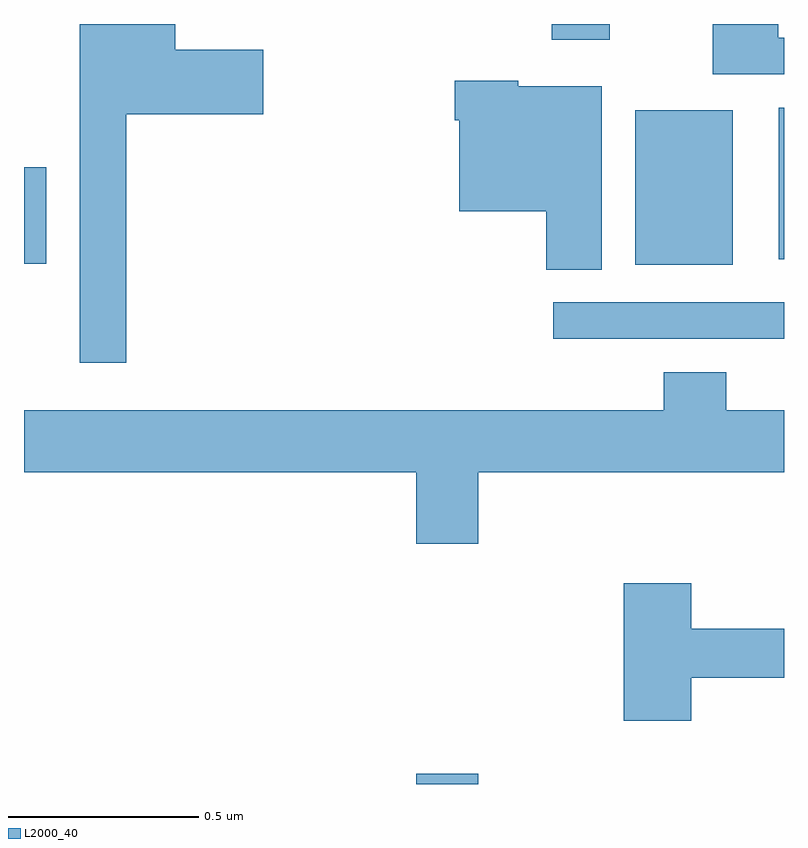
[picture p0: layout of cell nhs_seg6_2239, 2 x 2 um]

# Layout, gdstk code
import gdstk
lib = gdstk.Library(unit=1e-6, precision=1e-09)
def R(c, l, rs):  # rectangles x0, y0, x1, y1
    for r in rs: c.add(gdstk.rectangle(r[:2], r[2:], *l))
def P(c, l, *ps):  # polygons
    for p in ps: c.add(gdstk.Polygon(p, *l))
L2000_40 = (2000, 40)

nhs_seg6_2239 = lib.new_cell('nhs_seg6_2239')
R(nhs_seg6_2239, L2000_40, [(141.032,962.5,141.196,962.527), (141.393,963.672,142,963.768), (141.608,963.866,141.865,964.273), (140,963.869,140.059,964.123), (141.986,963.881,142,964.279), (141.389,964.458,141.541,964.5)])
P(nhs_seg6_2239, L2000_40, [(140.269,964.262),(140.629,964.262),(140.629,964.432),(140.398,964.432),(140.398,964.5),(140.147,964.5),(140.147,963.609),(140.269,963.609)],
  [(142,964.464),(141.985,964.464),(141.985,964.5),(141.812,964.5),(141.812,964.368),(142,964.368)],
  [(141.52,964.336),(141.3,964.336),(141.3,964.351),(141.134,964.351),(141.134,964.247),(141.146,964.247),(141.146,964.007),(141.374,964.007),(141.374,963.853),(141.52,963.853)],
  [(141.196,963.32),(142,963.32),(142,963.484),(141.848,963.484),(141.848,963.583),(141.683,963.583),(141.683,963.484),(140,963.484),(140,963.32),(141.032,963.32),(141.032,963.132),(141.196,963.132)],
  [(141.756,962.779),(142,962.779),(142,962.908),(141.756,962.908),(141.756,963.028),(141.578,963.028),(141.578,962.667),(141.756,962.667)])

lib.write_gds('nhs_seg6_2239.gds')
